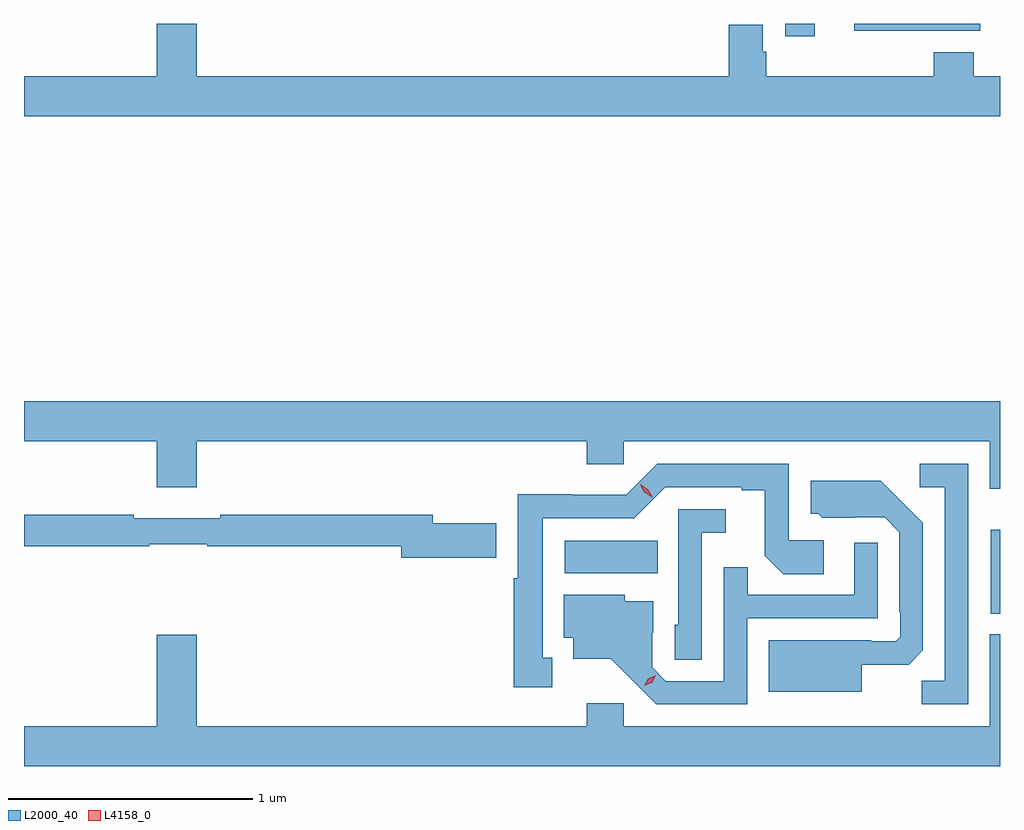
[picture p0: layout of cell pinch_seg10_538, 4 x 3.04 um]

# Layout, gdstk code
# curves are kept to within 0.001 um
import gdstk
lib = gdstk.Library(unit=1e-6, precision=1e-09)
def R(c, l, rs):  # rectangles x0, y0, x1, y1
    for r in rs: c.add(gdstk.rectangle(r[:2], r[2:], *l))
def P(c, l, *ps):  # polygons
    for p in ps: c.add(gdstk.Polygon(p, *l))
L2000_40 = (2000, 40)
L4158_0 = (4158, 0)

pinch_seg10_538 = lib.new_cell('pinch_seg10_538')
R(pinch_seg10_538, L2000_40, [(360.233,1263.647,360.271,1263.991), (358.488,1263.812,358.868,1263.946), (359.39,1266.012,359.512,1266.065), (359.673,1266.035,360.191,1266.065)])
P(pinch_seg10_538, L2000_40, [(360.271,1265.848),(360.164,1265.848),(360.164,1265.947),(359.999,1265.947),(359.999,1265.848),(359.312,1265.848),(359.312,1265.949),(359.299,1265.949),(359.299,1266.06),(359.159,1266.06),(359.159,1265.848),(356.98,1265.848),(356.98,1266.065),(356.816,1266.065),(356.816,1265.848),(356.271,1265.848),(356.271,1265.684),(360.271,1265.684)],
  [(360.271,1264.516),(356.271,1264.516),(356.271,1264.352),(356.816,1264.352),(356.816,1264.164),(356.98,1264.164),(356.98,1264.352),(358.577,1264.352),(358.577,1264.259),(358.728,1264.259),(358.728,1264.352),(360.23,1264.352),(360.23,1264.158),(360.271,1264.158)],
  [(360.141,1264.26),(359.943,1264.26),(359.943,1264.164),(360.045,1264.164),(360.045,1263.371),(359.95,1263.371),(359.95,1263.276),(360.141,1263.276)],
  [(358.435,1263.465),(358.396,1263.465),(358.396,1264.038),(358.773,1264.038),(358.899,1264.164),(359.213,1264.164),(359.213,1264.152),(359.307,1264.152),(359.307,1263.884),(359.383,1263.808),(359.548,1263.808),(359.548,1263.948),(359.406,1263.948),(359.406,1264.26),(358.866,1264.26),(358.74,1264.134),(358.518,1264.134),(358.518,1264.136),(358.295,1264.136),(358.295,1263.791),(358.278,1263.791),(358.278,1263.345),(358.435,1263.345)],
  [(359.704,1263.437),(359.896,1263.437),(359.955,1263.496),(359.955,1264.018),(359.783,1264.192),(359.495,1264.192),(359.495,1264.056),(359.526,1264.056),(359.542,1264.04),(359.799,1264.041),(359.859,1263.981),(359.859,1263.652),(359.862,1263.652),(359.862,1263.552),(359.844,1263.534),(359.744,1263.534),(359.744,1263.538),(359.324,1263.538),(359.324,1263.326),(359.704,1263.326)],
  [(359.049,1263.977),(359.146,1263.977),(359.146,1264.074),(358.953,1264.074),(358.953,1263.6),(358.938,1263.6),(358.938,1263.457),(359.049,1263.457)],
  [(358.207,1264.016),(357.946,1264.016),(357.946,1264.051),(357.076,1264.051),(357.076,1264.038),(356.72,1264.038),(356.72,1264.051),(356.271,1264.051),(356.271,1263.922),(356.785,1263.922),(356.785,1263.93),(357.022,1263.93),(357.022,1263.922),(357.818,1263.922),(357.818,1263.875),(358.207,1263.875)],
  [(359.235,1263.627),(359.769,1263.627),(359.769,1263.937),(359.673,1263.937),(359.673,1263.723),(359.237,1263.723),(359.237,1263.836),(359.139,1263.836),(359.139,1263.369),(358.902,1263.369),(358.845,1263.426),(358.845,1263.568),(358.849,1263.568),(358.849,1263.697),(358.734,1263.697),(358.734,1263.724),(358.484,1263.724),(358.484,1263.548),(358.523,1263.548),(358.523,1263.461),(358.675,1263.461),(358.862,1263.276),(359.235,1263.276)],
  [(360.271,1263.562),(360.23,1263.562),(360.23,1263.184),(358.728,1263.184),(358.728,1263.28),(358.577,1263.28),(358.577,1263.184),(356.98,1263.184),(356.98,1263.559),(356.816,1263.559),(356.816,1263.184),(356.271,1263.184),(356.271,1263.02),(360.271,1263.02)])
P(pinch_seg10_538, L4158_0, [(358.812,1263.35),(358.812,1263.35),(358.83,1263.379),(358.86,1263.394),(358.861,1263.394),(358.861,1263.393),(358.843,1263.364),(358.812,1263.35)],
  [(358.846,1264.124),(358.814,1264.143),(358.796,1264.175),(358.796,1264.176),(358.796,1264.176),(358.828,1264.157),(358.846,1264.125),(358.846,1264.124)])

lib.write_gds('pinch_seg10_538.gds')
